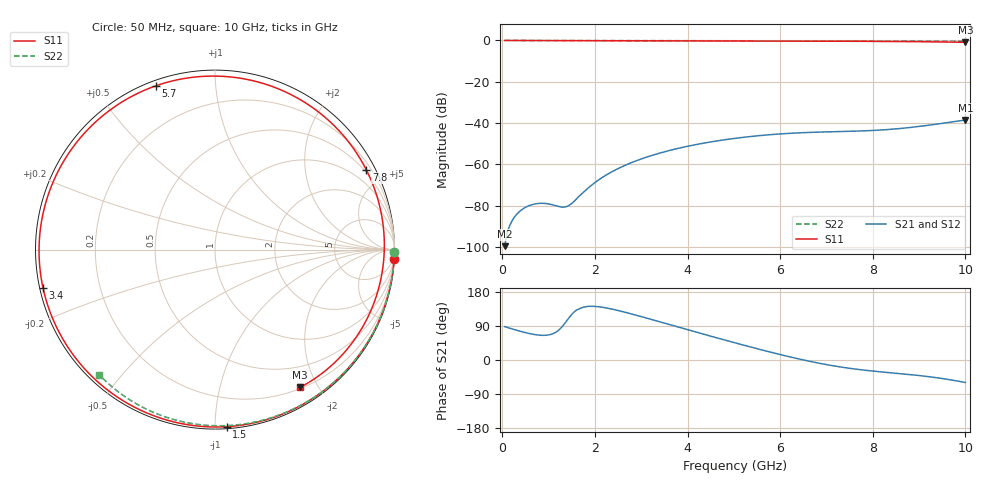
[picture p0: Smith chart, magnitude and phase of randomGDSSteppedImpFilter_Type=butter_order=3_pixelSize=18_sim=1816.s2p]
! freq	dB(S11)	phase(S11)	dB(S12)	phase(S12)
!  dB(S21)	phase(S21)	dB(S22)	phase(S22)
!S-par simulation data
#  GHz  S  DB  R 50
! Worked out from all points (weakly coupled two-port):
!   200 points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, 50 MHz to 10 GHz, reference 50 ohm
!   highest |S21| = -38.49 dB at 10 GHz (marker M1); lowest = -99.5 dB at 50 MHz (marker M2)
!   lowest |S11| = -0.9 dB at 10 GHz (marker M3), VSWR 19.43, Z = 10.8 - j88.7 ohm
!   |S11| at or under -10 dB: nowhere
!   |S22| runs from -0.4 to 0.0 dB; largest |S21 - S12| = 0
!   S11 on the Smith chart (normalised r, x): 50 MHz: 0, -37; 1.5 GHz: 0.01, -1.07; 3.4 GHz: 0.01, -0.11; 5.7 GHz: 0.02, +0.70; 7.8 GHz: 0.41, +4.01; 10 GHz: 0.22, -1.77
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0.05  -0.00 -3.1  -99.55 88.1  -99.55 88.1  -0.00 -0.8
0.4  -0.04 -24.6  -82.25 75.5  -82.25 75.5  -0.01 -6.1
0.8  -0.06 -48.3  -78.83 65.6  -78.83 65.6  -0.02 -12.2
1.2  -0.08 -70.6  -80.24 77.0  -80.24 77.0  -0.02 -18.3
1.4  -0.09 -81.2  -80.28 104.9  -80.28 104.9  -0.03 -21.3
1.5  -0.10 -86.3  -78.88 120.4  -78.88 120.4  -0.03 -22.8
1.75  -0.11 -98.6  -73.51 139.2  -73.51 139.2  -0.03 -26.5
2.15  -0.12 -117.1  -66.43 139.4  -66.43 139.4  -0.04 -32.4
2.6  -0.14 -136.2  -60.95 127.6  -60.95 127.6  -0.05 -39.0
3  -0.15 -152.1  -57.35 114.6  -57.35 114.6  -0.06 -44.7
3.4  -0.16 -167.3  -54.51 100.8  -54.51 100.8  -0.07 -50.4
4.2  -0.19 163.8  -50.31 73.2  -50.31 73.2  -0.09 -61.5
5.05  -0.23 133.5  -47.29 44.5  -47.29 44.5  -0.11 -72.9
5.7  -0.26 109.8  -45.75 23.6  -45.75 23.6  -0.14 -81.4
6.2  -0.29 91.0  -44.95 8.5  -44.95 8.5  -0.16 -87.7
6.7  -0.32 71.7  -44.44 -5.0  -44.44 -5.0  -0.18 -93.9
7.2  -0.36 51.9  -44.13 -16.4  -44.13 -16.4  -0.21 -100.0
7.8  -0.42 27.8  -43.75 -26.6  -43.75 -26.6  -0.25 -107.2
8.35  -0.49 5.6  -43.07 -33.3  -43.07 -33.3  -0.29 -113.7
9.1  -0.62 -24.0  -41.33 -42.4  -41.33 -42.4  -0.35 -122.4
9.55  -0.74 -41.3  -39.96 -49.8  -39.96 -49.8  -0.40 -127.5
10  -0.89 -58.3  -38.49 -59.4  -38.49 -59.4  -0.45 -132.7
